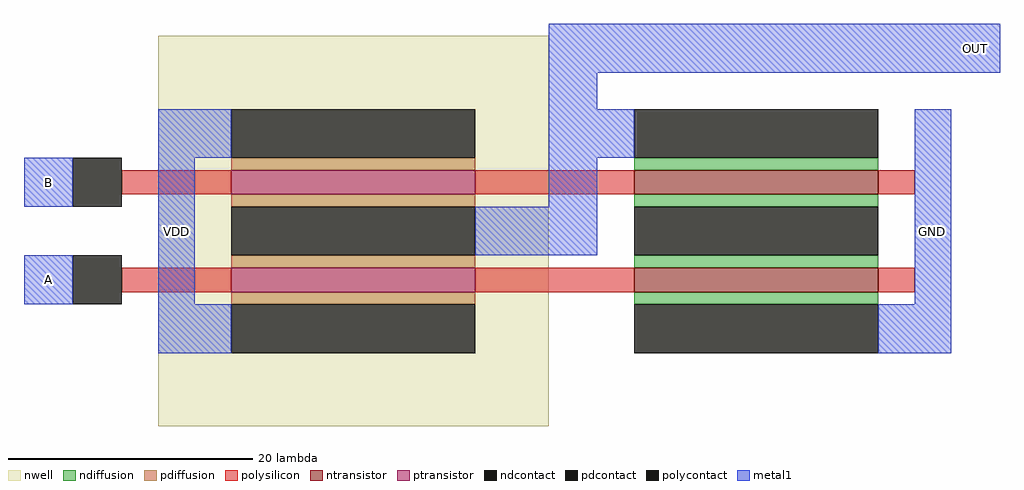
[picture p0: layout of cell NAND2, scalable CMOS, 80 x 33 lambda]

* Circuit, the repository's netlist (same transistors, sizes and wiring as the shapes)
* SPICE3 file created from NAND2.ext - technology: scmos

.option scale=0.09u

M1000 OUT A VDD w_n6_26# cmosp w=20 l=2
+  ad=120 pd=52 as=200 ps=100
M1001 VDD B OUT w_n6_26# cmosp w=20 l=2
+  ad=0 pd=0 as=0 ps=0
M1002 OUT B a_7_n1# Gnd cmosn w=20 l=2
+  ad=100 pd=50 as=120 ps=52
M1003 a_7_n1# A GND Gnd cmosn w=20 l=2
+  ad=0 pd=0 as=100 ps=50

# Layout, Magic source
magic
tech scmos
<< nwell >>
rect 5 -11 37 21
<< ntransistor >>
rect 44 8 64 10
rect 44 0 64 2
<< ptransistor >>
rect 11 8 31 10
rect 11 0 31 2
<< ndiffusion >>
rect 44 10 64 11
rect 44 7 64 8
rect 44 2 64 3
rect 44 -1 64 0
<< pdiffusion >>
rect 11 10 31 11
rect 11 7 31 8
rect 11 2 31 3
rect 11 -1 31 0
<< ndcontact >>
rect 44 11 64 15
rect 44 3 64 7
rect 44 -5 64 -1
<< pdcontact >>
rect 11 11 31 15
rect 11 3 31 7
rect 11 -5 31 -1
<< polysilicon >>
rect 2 8 11 10
rect 31 8 44 10
rect 64 8 67 10
rect 2 0 11 2
rect 31 0 44 2
rect 64 0 67 2
<< polycontact >>
rect -2 7 2 11
rect -2 -1 2 3
<< metal1 >>
rect 37 18 74 22
rect 37 15 41 18
rect 5 11 11 15
rect 37 11 44 15
rect -6 7 -2 11
rect -6 -1 -2 3
rect 5 -1 8 11
rect 37 7 41 11
rect 31 3 41 7
rect 67 -1 70 15
rect 5 -5 11 -1
rect 64 -5 70 -1
<< labels >>
rlabel metal1 5 -5 8 15 3 VDD
rlabel metal1 -6 -1 -2 3 3 A
rlabel metal1 -6 7 -2 11 3 B
rlabel metal1 67 -5 70 15 7 GND
rlabel metal1 70 18 74 22 6 OUT
<< end >>
